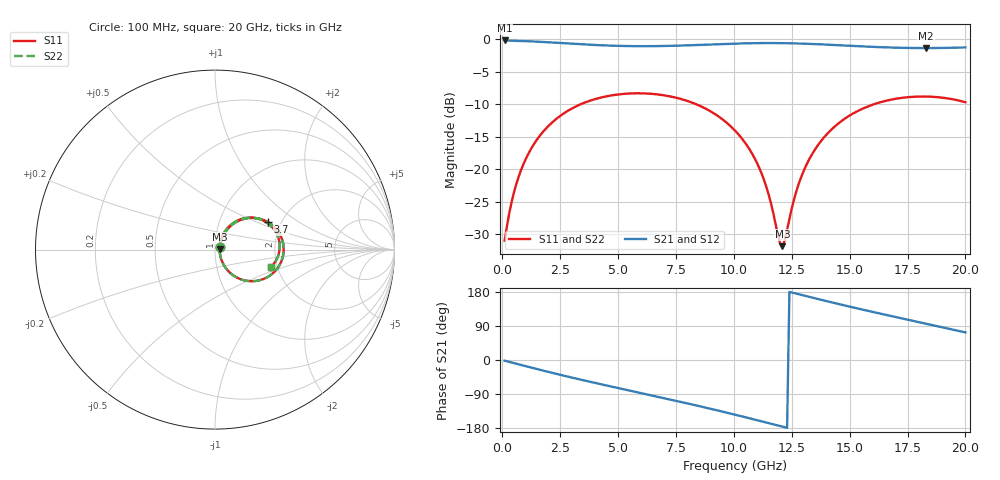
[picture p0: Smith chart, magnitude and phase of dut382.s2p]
! Touchstone file exported from HFSS 2026.1.0
!  File:  C:/ffzhzh/LocalFiles/Ansys_Project_Files/temp_train_TSV_RDL_382_1783089917_46604.aedt
!  Generated:  10:58:10 PM Jul  3, 2026
!  Design:  TSV_RDL
!  Project:  temp_train_TSV_RDL_382_1783089917_46604
! Variables:
!  h_bsmrdl = 5.5um
!  h_ox = 20um
!  h_rdl = 5um
!  h_sub = 85.47um
!  h_tmrdl = 5.47um
!  h_tsv = 85.47um
!  h_via = 3um
!  l_bsmrdl = 704.97um
!  l_sub = 4919.73um
!  l_tmrdl = 581.24um
!  m_sub = 200um
!  pitch = 26.07um
!  r_tsv = 4.6um
!  s_tmrdl = 10um
!  w_bsmrdl = 14.15um
!  w_sub = 500um
!  w_tmrdl = 12.47um
!  x_tsv_center1 = 587.475um
!  x_tsv_center2 = 1306.595um
!  x_tsv_center3 = 1900.305um
!  x_tsv_center4 = 2619.425um
!  x_tsv_center5 = 3213.135um
!  x_tsv_center6 = 3932.255um
# GHz S MA R 50.000000
! Terminal data exported
! Port[1] = TM_RDL1_1_T1
! Port[2] = TM_RDL5_1_T1
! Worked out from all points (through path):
!   200 points, 100 MHz to 20 GHz, reference 50 ohm
!   highest |S21| = -0.22 dB at 100 MHz (marker M1); lowest = -1.4 dB at 18.3 GHz (marker M2)
!   group delay of S21, straight-line fit = 39.9 ps
!   lowest |S11| = -31.9 dB at 12.1 GHz (marker M3), VSWR 1.05, Z = 52.6 + j0.254 ohm
!   |S11| at or under -10 dB: start of sweep to 3.408 GHz; 8.353 GHz to 16.08 GHz (7.724 GHz wide, 63.2 % of centre)
!   |S22| runs from -31.9 to -8.3 dB; largest |S21 - S12| = 1.7e-14
!   S11 on the Smith chart (normalised r, x): 100 MHz: 1.05, +0.03; 3.7 GHz: 1.70, +0.59; 20 GHz: 1.85, -0.40
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0.1  0.02816 25.8  0.9749 -1.7  0.9749 -1.7  0.02816 25.8
! Gamma 0 0 0 0
! Port Impedance 50 0 50 0
0.3  0.04561 48.9  0.9725 -5.0  0.9725 -5.0  0.04561 48.9
0.6  0.07608 58.3  0.9691 -9.8  0.9691 -9.8  0.07608 58.3
1.2  0.1387 58.1  0.9603 -19.3  0.9603 -19.3  0.1387 58.1
2.2  0.2323 47.2  0.9391 -34.6  0.9391 -34.6  0.2323 47.2
3.5  0.3212 30.3  0.9093 -53.4  0.9093 -53.4  0.3212 30.3
3.7  0.3313 27.7  0.9052 -56.2  0.9052 -56.2  0.3313 27.7
5.2  0.3779 8.5  0.8843 -76.7  0.8843 -76.7  0.3779 8.5
6.8  0.3732 -11.5  0.8829 -98.1  0.8829 -98.1  0.3732 -11.6
8.5  0.3082 -33.0  0.9007 -121.6  0.9007 -121.6  0.3082 -33.0
10.1  0.1933 -52.6  0.9223 -145.0  0.9223 -145.0  0.1933 -52.6
10.7  0.1396 -58.3  0.928 -154.1  0.928 -154.1  0.1395 -58.4
11.2  0.09229 -60.2  0.9307 -161.8  0.9307 -161.8  0.09227 -60.2
11.6  0.05486 -54.5  0.9312 -168.0  0.9312 -168.0  0.05481 -54.6
12  0.02666 -15.4  0.9303 -174.2  0.9303 -174.2  0.02656 -15.5
12.1  0.02553 5.4  0.9298 -175.7  0.9298 -175.7  0.02543 5.4
12.8  0.07672 60.8  0.924 173.5  0.924 173.5  0.07669 60.9
13.4  0.132 60.4  0.916 164.4  0.916 164.4  0.132 60.4
14.8  0.2446 45.9  0.8912 143.7  0.8912 143.7  0.2446 45.9
16.7  0.3392 22.7  0.861 117.3  0.861 117.3  0.3392 22.7
18.3  0.3612 3.3  0.8519 95.8  0.8519 95.8  0.3612 3.3
20  0.3263 -17.3  0.8618 72.8  0.8618 72.8  0.3263 -17.3
